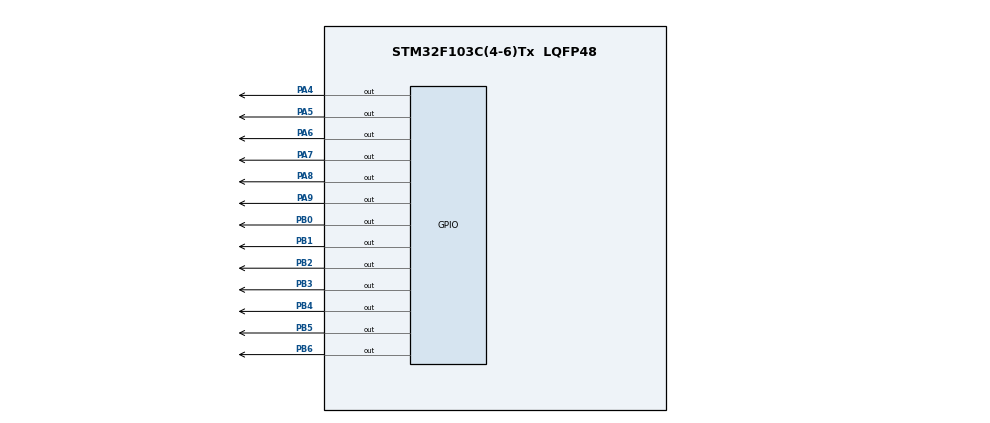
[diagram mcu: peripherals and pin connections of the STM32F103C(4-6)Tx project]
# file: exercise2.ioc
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Mcu.Family=STM32F1
Mcu.Name=STM32F103C(4-6)Tx
Mcu.Package=LQFP48
NVIC.PriorityGroup=NVIC_PRIORITYGROUP_4
NVIC.TIM2_IRQn=true\:0\:0\:false\:false\:true\:true\:true\:true
PA4.Signal=GPIO_Output
PA5.Signal=GPIO_Output
PA6.Signal=GPIO_Output
PA7.Signal=GPIO_Output
PA8.Signal=GPIO_Output
PA9.Signal=GPIO_Output
PB0.Signal=GPIO_Output
PB1.Signal=GPIO_Output
PB2.Signal=GPIO_Output
PB3.Signal=GPIO_Output
PB4.Signal=GPIO_Output
PB5.Signal=GPIO_Output
PB6.Signal=GPIO_Output
ProjectManager.HeapSize=0x200
ProjectManager.StackSize=0x400
ProjectManager.TargetToolchain=STM32CubeIDE
RCC.APB1Freq_Value=8000000
RCC.APB2Freq_Value=8000000
TIM2.Period=9
TIM2.Prescaler=7999
VP_TIM2_VS_ClockSourceINT.Mode=Internal
board=custom

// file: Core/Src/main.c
/* USER CODE BEGIN Header */
/**
 ******************************************************************************
 * @file           : main.c
 * @brief          : Main program body
 ******************************************************************************
 * @attention
 *
 * Copyright (c) 2022 STMicroelectronics.
 * All rights reserved.
 *
 * This software is licensed under terms that can be found in the LICENSE file
 * in the root directory of this software component.
 * If no LICENSE file comes with this software, it is provided AS-IS.
 *
 ******************************************************************************
 */
/* USER CODE END Header */
#include "main.h"

/* USER CODE BEGIN Includes */
#include "software_timer.h"
/* USER CODE END Includes */

TIM_HandleTypeDef htim2;

void SystemClock_Config(void);
static void MX_GPIO_Init(void);
static void MX_TIM2_Init(void);

int main(void) {

	/* MCU Configuration--------------------------------------------------------*/

	/* Reset of all peripherals, Initializes the Flash interface and the Systick. */
	HAL_Init();

	/* Configure the system clock */
	SystemClock_Config();

	/* Initialize all configured peripherals */
	MX_GPIO_Init();
	MX_TIM2_Init();
	/* USER CODE BEGIN 2 */
	HAL_TIM_Base_Start_IT(&htim2);
	void display7SEG(int num) {
		switch (num) {
		case 0:
			HAL_GPIO_WritePin(GPIOB, GPIO_PIN_0, 0);
			HAL_GPIO_WritePin(GPIOB, GPIO_PIN_1, 0);
			HAL_GPIO_WritePin(GPIOB, GPIO_PIN_2, 0);
			HAL_GPIO_WritePin(GPIOB, GPIO_PIN_3, 0);
			HAL_GPIO_WritePin(GPIOB, GPIO_PIN_4, 0);
			HAL_GPIO_WritePin(GPIOB, GPIO_PIN_5, 0);
			HAL_GPIO_WritePin(GPIOB, GPIO_PIN_6, 1);
			break;
		case 1:
			HAL_GPIO_WritePin(GPIOB, GPIO_PIN_0, 1);
			HAL_GPIO_WritePin(GPIOB, GPIO_PIN_1, 0);
			HAL_GPIO_WritePin(GPIOB, GPIO_PIN_2, 0);
			HAL_GPIO_WritePin(GPIOB, GPIO_PIN_3, 1);
			HAL_GPIO_WritePin(GPIOB, GPIO_PIN_4, 1);
			HAL_GPIO_WritePin(GPIOB, GPIO_PIN_5, 1);
			HAL_GPIO_WritePin(GPIOB, GPIO_PIN_6, 1);
			break;
		case 2:
			HAL_GPIO_WritePin(GPIOB, GPIO_PIN_0, 0);
			HAL_GPIO_WritePin(GPIOB, GPIO_PIN_1, 0);
			HAL_GPIO_WritePin(GPIOB, GPIO_PIN_2, 1);
			HAL_GPIO_WritePin(GPIOB, GPIO_PIN_3, 0);
			HAL_GPIO_WritePin(GPIOB, GPIO_PIN_4, 0);
			HAL_GPIO_WritePin(GPIOB, GPIO_PIN_5, 1);
			HAL_GPIO_WritePin(GPIOB, GPIO_PIN_6, 0);
			break;
		case 3:
			HAL_GPIO_WritePin(GPIOB, GPIO_PIN_0, 0);
			HAL_GPIO_WritePin(GPIOB, GPIO_PIN_1, 0);
			HAL_GPIO_WritePin(GPIOB, GPIO_PIN_2, 0);
			HAL_GPIO_WritePin(GPIOB, GPIO_PIN_3, 0);
			HAL_GPIO_WritePin(GPIOB, GPIO_PIN_4, 1);
			HAL_GPIO_WritePin(GPIOB, GPIO_PIN_5, 1);
			HAL_GPIO_WritePin(GPIOB, GPIO_PIN_6, 0);
			break;
		case 4:
			HAL_GPIO_WritePin(GPIOB, GPIO_PIN_0, 1);
			HAL_GPIO_WritePin(GPIOB, GPIO_PIN_1, 0);
			HAL_GPIO_WritePin(GPIOB, GPIO_PIN_2, 0);
			HAL_GPIO_WritePin(GPIOB, GPIO_PIN_3, 1);
			HAL_GPIO_WritePin(GPIOB, GPIO_PIN_4, 1);
			HAL_GPIO_WritePin(GPIOB, GPIO_PIN_5, 0);
			HAL_GPIO_WritePin(GPIOB, GPIO_PIN_6, 0);
			break;
		case 5:
			HAL_GPIO_WritePin(GPIOB, GPIO_PIN_0, 0);
			HAL_GPIO_WritePin(GPIOB, GPIO_PIN_1, 1);
			HAL_GPIO_WritePin(GPIOB, GPIO_PIN_2, 0);
			HAL_GPIO_WritePin(GPIOB, GPIO_PIN_3, 0);
			HAL_GPIO_WritePin(GPIOB, GPIO_PIN_4, 1);
			HAL_GPIO_WritePin(GPIOB, GPIO_PIN_5, 0);
			HAL_GPIO_WritePin(GPIOB, GPIO_PIN_6, 0);
			break;
		case 6:
			HAL_GPIO_WritePin(GPIOB, GPIO_PIN_0, 0);
			HAL_GPIO_WritePin(GPIOB, GPIO_PIN_1, 1);
			HAL_GPIO_WritePin(GPIOB, GPIO_PIN_2, 0);
			HAL_GPIO_WritePin(GPIOB, GPIO_PIN_3, 0);
			HAL_GPIO_WritePin(GPIOB, GPIO_PIN_4, 0);
			HAL_GPIO_WritePin(GPIOB, GPIO_PIN_5, 0);
			HAL_GPIO_WritePin(GPIOB, GPIO_PIN_6, 0);
			break;
		case 7:
			HAL_GPIO_WritePin(GPIOB, GPIO_PIN_0, 0);
			HAL_GPIO_WritePin(GPIOB, GPIO_PIN_1, 0);
			HAL_GPIO_WritePin(GPIOB, GPIO_PIN_2, 0);
			HAL_GPIO_WritePin(GPIOB, GPIO_PIN_3, 1);
			HAL_GPIO_WritePin(GPIOB, GPIO_PIN_4, 1);
			HAL_GPIO_WritePin(GPIOB, GPIO_PIN_5, 1);
			HAL_GPIO_WritePin(GPIOB, GPIO_PIN_6, 1);
			break;
		case 8:
			HAL_GPIO_WritePin(GPIOB, GPIO_PIN_0, 0);
			HAL_GPIO_WritePin(GPIOB, GPIO_PIN_1, 0);
			HAL_GPIO_WritePin(GPIOB, GPIO_PIN_2, 0);
			HAL_GPIO_WritePin(GPIOB, GPIO_PIN_3, 0);
			HAL_GPIO_WritePin(GPIOB, GPIO_PIN_4, 0);
			HAL_GPIO_WritePin(GPIOB, GPIO_PIN_5, 0);
			HAL_GPIO_WritePin(GPIOB, GPIO_PIN_6, 0);
			break;
		case 9:
			HAL_GPIO_WritePin(GPIOB, GPIO_PIN_0, 0);
			HAL_GPIO_WritePin(GPIOB, GPIO_PIN_1, 0);
			HAL_GPIO_WritePin(GPIOB, GPIO_PIN_2, 0);
			HAL_GPIO_WritePin(GPIOB, GPIO_PIN_3, 0);
			HAL_GPIO_WritePin(GPIOB, GPIO_PIN_4, 1);
			HAL_GPIO_WritePin(GPIOB, GPIO_PIN_5, 0);
			HAL_GPIO_WritePin(GPIOB, GPIO_PIN_6, 0);
			break;
		default:
			HAL_GPIO_WritePin(GPIOB, GPIO_PIN_6, 1);
			HAL_GPIO_WritePin(GPIOB, GPIO_PIN_5, 1);
			HAL_GPIO_WritePin(GPIOB, GPIO_PIN_4, 1);
			HAL_GPIO_WritePin(GPIOB, GPIO_PIN_3, 1);
			HAL_GPIO_WritePin(GPIOB, GPIO_PIN_2, 1);
			HAL_GPIO_WritePin(GPIOB, GPIO_PIN_1, 1);
			HAL_GPIO_WritePin(GPIOB, GPIO_PIN_0, 1);
			break;
		}
	}
	/* USER CODE END 2 */

	/* Infinite loop */
	/* USER CODE BEGIN WHILE */
	setTimer1(50);
	setTimer2(61);
	setTimer3(101);
	HAL_GPIO_WritePin(GPIOA, GPIO_PIN_6, 1);
	HAL_GPIO_WritePin(GPIOA, GPIO_PIN_7, 1);
	HAL_GPIO_WritePin(GPIOA, GPIO_PIN_5, 1);
	HAL_GPIO_WritePin(GPIOA, GPIO_PIN_8, 1);
	HAL_GPIO_WritePin(GPIOA, GPIO_PIN_9, 1);
	HAL_GPIO_WritePin(GPIOA, GPIO_PIN_4, 1);
	int counter = 1;
	while (1) {
		/* USER CODE END WHILE */
		if (timer1_flag) {
			setTimer1(50);
			switch (counter % 4) {
			case 1:
				HAL_GPIO_WritePin(GPIOA, GPIO_PIN_6, 0);
				HAL_GPIO_WritePin(GPIOA, GPIO_PIN_7, 1);
				HAL_GPIO_WritePin(GPIOA, GPIO_PIN_8, 1);
				HAL_GPIO_WritePin(GPIOA, GPIO_PIN_9, 1);
				display7SEG(1);
				break;
			case 2:
				HAL_GPIO_WritePin(GPIOA, GPIO_PIN_6, 1);
				HAL_GPIO_WritePin(GPIOA, GPIO_PIN_7, 0);
				HAL_GPIO_WritePin(GPIOA, GPIO_PIN_8, 1);
				HAL_GPIO_WritePin(GPIOA, GPIO_PIN_9, 1);
				display7SEG(2);
				break;
			case 3:
				HAL_GPIO_WritePin(GPIOA, GPIO_PIN_6, 1);
				HAL_GPIO_WritePin(GPIOA, GPIO_PIN_7, 1);
				HAL_GPIO_WritePin(GPIOA, GPIO_PIN_8, 0);
				HAL_GPIO_WritePin(GPIOA, GPIO_PIN_9, 1);
				display7SEG(3);
				break;
			case 0:
				HAL_GPIO_WritePin(GPIOA, GPIO_PIN_6, 1);
				HAL_GPIO_WritePin(GPIOA, GPIO_PIN_7, 1);
				HAL_GPIO_WritePin(GPIOA, GPIO_PIN_8, 1);
				HAL_GPIO_WritePin(GPIOA, GPIO_PIN_9, 0);
				display7SEG(0);
				break;
			default:
				HAL_GPIO_WritePin(GPIOA, GPIO_PIN_6, 1);
				HAL_GPIO_WritePin(GPIOA, GPIO_PIN_7, 1);
				HAL_GPIO_WritePin(GPIOA, GPIO_PIN_8, 1);
				HAL_GPIO_WritePin(GPIOA, GPIO_PIN_9, 1);
				break;
			}
		}
		if (timer2_flag) {
			setTimer2(50);
			counter++;
			if (counter > 100) {
				counter = 1;
			}
			HAL_GPIO_TogglePin(GPIOA, GPIO_PIN_5);
		}
		if(timer3_flag){
			setTimer3(100);
			HAL_GPIO_TogglePin(GPIOA, GPIO_PIN_4);
		}
	}
}

void SystemClock_Config(void) {
	RCC_OscInitTypeDef RCC_OscInitStruct = { 0 };
	RCC_ClkInitTypeDef RCC_ClkInitStruct = { 0 };

	/** Initializes the RCC Oscillators according to the specified parameters
	 * in the RCC_OscInitTypeDef structure.
	 */
	RCC_OscInitStruct.OscillatorType = RCC_OSCILLATORTYPE_HSI;
	RCC_OscInitStruct.HSIState = RCC_HSI_ON;
	RCC_OscInitStruct.HSICalibrationValue = RCC_HSICALIBRATION_DEFAULT;
	RCC_OscInitStruct.PLL.PLLState = RCC_PLL_NONE;
	if (HAL_RCC_OscConfig(&RCC_OscInitStruct) != HAL_OK) {
		Error_Handler();
	}

	/** Initializes the CPU, AHB and APB buses clocks
	 */
	RCC_ClkInitStruct.ClockType = RCC_CLOCKTYPE_HCLK | RCC_CLOCKTYPE_SYSCLK
			| RCC_CLOCKTYPE_PCLK1 | RCC_CLOCKTYPE_PCLK2;
	RCC_ClkInitStruct.SYSCLKSource = RCC_SYSCLKSOURCE_HSI;
	RCC_ClkInitStruct.AHBCLKDivider = RCC_SYSCLK_DIV1;
	RCC_ClkInitStruct.APB1CLKDivider = RCC_HCLK_DIV1;
	RCC_ClkInitStruct.APB2CLKDivider = RCC_HCLK_DIV1;

	if (HAL_RCC_ClockConfig(&RCC_ClkInitStruct, FLASH_LATENCY_0) != HAL_OK) {
		Error_Handler();
	}
}

static void MX_TIM2_Init(void) {

	TIM_ClockConfigTypeDef sClockSourceConfig = { 0 };
	TIM_MasterConfigTypeDef sMasterConfig = { 0 };

	htim2.Instance = TIM2;
	htim2.Init.Prescaler = 7999;
	htim2.Init.CounterMode = TIM_COUNTERMODE_UP;
	htim2.Init.Period = 9;
	htim2.Init.ClockDivision = TIM_CLOCKDIVISION_DIV1;
	htim2.Init.AutoReloadPreload = TIM_AUTORELOAD_PRELOAD_DISABLE;
	if (HAL_TIM_Base_Init(&htim2) != HAL_OK) {
		Error_Handler();
	}
	sClockSourceConfig.ClockSource = TIM_CLOCKSOURCE_INTERNAL;
	if (HAL_TIM_ConfigClockSource(&htim2, &sClockSourceConfig) != HAL_OK) {
		Error_Handler();
	}
	sMasterConfig.MasterOutputTrigger = TIM_TRGO_RESET;
	sMasterConfig.MasterSlaveMode = TIM_MASTERSLAVEMODE_DISABLE;
	if (HAL_TIMEx_MasterConfigSynchronization(&htim2, &sMasterConfig)
			!= HAL_OK) {
		Error_Handler();
	}

}

static void MX_GPIO_Init(void) {
	GPIO_InitTypeDef GPIO_InitStruct = { 0 };

	/* GPIO Ports Clock Enable */
	__HAL_RCC_GPIOA_CLK_ENABLE();
	__HAL_RCC_GPIOB_CLK_ENABLE();

	/*Configure GPIO pin Output Level */
	HAL_GPIO_WritePin(GPIOA,
			GPIO_PIN_4 | GPIO_PIN_5 | GPIO_PIN_6 | GPIO_PIN_7 | GPIO_PIN_8
					| GPIO_PIN_9, GPIO_PIN_RESET);

	/*Configure GPIO pin Output Level */
	HAL_GPIO_WritePin(GPIOB,
			GPIO_PIN_0 | GPIO_PIN_1 | GPIO_PIN_2 | GPIO_PIN_3 | GPIO_PIN_4
					| GPIO_PIN_5 | GPIO_PIN_6, GPIO_PIN_RESET);

	/*Configure GPIO pins : PA4 PA5 PA6 PA7
	 PA8 PA9 */
	GPIO_InitStruct.Pin = GPIO_PIN_4 | GPIO_PIN_5 | GPIO_PIN_6 | GPIO_PIN_7
			| GPIO_PIN_8 | GPIO_PIN_9;
	GPIO_InitStruct.Mode = GPIO_MODE_OUTPUT_PP;
	GPIO_InitStruct.Pull = GPIO_NOPULL;
	GPIO_InitStruct.Speed = GPIO_SPEED_FREQ_LOW;
	HAL_GPIO_Init(GPIOA, &GPIO_InitStruct);

	/*Configure GPIO pins : PB0 PB1 PB2 PB3
	 PB4 PB5 PB6 */
	GPIO_InitStruct.Pin = GPIO_PIN_0 | GPIO_PIN_1 | GPIO_PIN_2 | GPIO_PIN_3
			| GPIO_PIN_4 | GPIO_PIN_5 | GPIO_PIN_6;
	GPIO_InitStruct.Mode = GPIO_MODE_OUTPUT_PP;
	GPIO_InitStruct.Pull = GPIO_NOPULL;
	GPIO_InitStruct.Speed = GPIO_SPEED_FREQ_LOW;
	HAL_GPIO_Init(GPIOB, &GPIO_InitStruct);

}

/* USER CODE BEGIN 4 */
void HAL_TIM_PeriodElapsedCallback(TIM_HandleTypeDef *htim) {
	timerRun();
}
/* USER CODE END 4 */

void Error_Handler(void) {
	__disable_irq();
	while (1) {
	}
}
